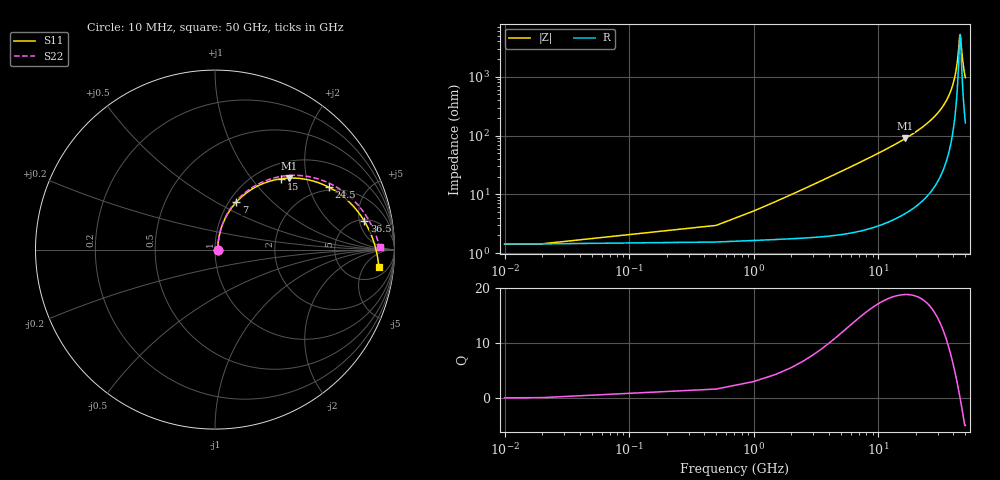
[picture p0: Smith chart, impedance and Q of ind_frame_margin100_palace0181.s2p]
! Created with skrf 2.2.0 (http://scikit-rf.org).
# GHz S DB R 50.0
! Port[1] = P1
! Port[2] = P2
!freq dBS11 angS11 dBS21 angS21 dBS12 angS12 dBS22 angS22
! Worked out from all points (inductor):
!   102 points, 10 MHz to 50 GHz, reference 50 ohm
!   read as 1/Y11, port 2 shorted: L = 779 pH near 1 GHz
!   highest Q = 18.9 at 16.5 GHz (marker M1), where L = 861 pH
!   self-resonance near 45 GHz
!   S11 on the Smith chart (normalised r, x): 10 MHz: 1.03, +0.00; 7 GHz: 1.08, +0.62; 15 GHz: 1.28, +1.42; 24.5 GHz: 1.87, +2.72; 36.5 GHz: 5.33, +5.97; 50 GHz: 9, -11
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0.01  -36.98 2.0  -0.12 -0.0  -0.12 -0.0  -36.98 2.0
0.5  -31.35 54.5  -0.14 -1.6  -0.14 -1.6  -31.34 54.6
1  -26.63 67.2  -0.15 -3.1  -0.15 -3.1  -26.63 67.3
1.5  -23.48 71.7  -0.17 -4.5  -0.17 -4.5  -23.48 71.8
2  -21.13 73.4  -0.19 -6.0  -0.19 -6.0  -21.13 73.6
3  -17.75 73.8  -0.24 -8.9  -0.24 -8.9  -17.75 74.1
4  -15.34 72.5  -0.31 -11.7  -0.31 -11.7  -15.35 72.9
5.5  -12.72 69.4  -0.44 -15.9  -0.44 -15.9  -12.72 70.1
7  -10.78 65.9  -0.59 -20.0  -0.59 -20.0  -10.79 66.7
8.5  -9.29 62.2  -0.78 -24.0  -0.78 -24.0  -9.29 63.2
11.5  -7.10 55.0  -1.21 -31.5  -1.21 -31.5  -7.11 56.3
15  -5.37 47.1  -1.80 -39.5  -1.80 -39.5  -5.38 48.8
16.5  -4.81 43.9  -2.08 -42.7  -2.08 -42.7  -4.82 45.8
17  -4.64 42.8  -2.17 -43.7  -2.17 -43.7  -4.65 44.9
20.5  -3.64 35.9  -2.85 -50.5  -2.85 -50.5  -3.65 38.4
24.5  -2.82 28.8  -3.65 -57.6  -3.65 -57.6  -2.83 31.8
25.5  -2.66 27.1  -3.86 -59.2  -3.86 -59.2  -2.67 30.2
29.5  -2.10 20.7  -4.68 -65.4  -4.68 -65.4  -2.11 24.4
33.5  -1.68 14.9  -5.51 -71.1  -5.51 -71.1  -1.70 19.1
36.5  -1.44 10.7  -6.14 -75.1  -6.14 -75.1  -1.45 15.4
42  -1.09 3.6  -7.31 -81.9  -7.31 -81.9  -1.10 9.1
50  -0.74 -6.1  -9.06 -91.0  -9.06 -91.0  -0.75 0.8
